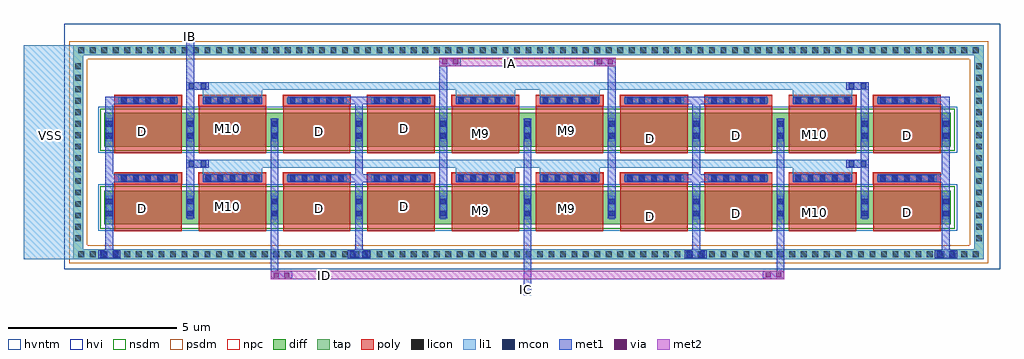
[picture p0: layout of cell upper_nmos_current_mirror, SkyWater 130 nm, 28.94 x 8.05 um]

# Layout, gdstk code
from math import pi, radians
import gdstk
lib = gdstk.Library(unit=1e-6, precision=1e-09)
def R(c, l, rs):  # rectangles x0, y0, x1, y1
    for r in rs: c.add(gdstk.rectangle(r[:2], r[2:], *l))
def A(c, l, x, y, w, h, nx, ny, dx, dy):  # array of equal rectangles
    R(c, l, [(x+i*dx, y+j*dy, x+i*dx+w, y+j*dy+h) for i in range(nx) for j in range(ny)])
def P(c, l, *ps):  # polygons
    for p in ps: c.add(gdstk.Polygon(p, *l))
diff = (65, 20)
tap = (65, 44)
poly = (66, 20)
licon = (66, 44)
li1 = (67, 20)
mcon = (67, 44)
met1 = (68, 20)
via = (68, 44)
met2 = (69, 20)
hvi = (75, 20)
nsdm = (93, 44)
psdm = (94, 20)
npc = (95, 20)
hvntm = (125, 20)

vias_gen_6 = lib.new_cell('vias_gen$6')
R(vias_gen_6, li1, [(0,0,0.66,0.23)])
R(vias_gen_6, mcon, [(0.065,0.03,0.235,0.2), (0.425,0.03,0.595,0.2)])
R(vias_gen_6, met1, [(0,0,0.66,0.23)])

nfet_1 = lib.new_cell('nfet$1')
R(nfet_1, diff, [(0,0,25.1,1)])
A(nfet_1, poly, 0.3, -0.2, 2, 1.4, 10, 1, 2.5, 0)
A(nfet_1, poly, 0.3, 1.2, 2, 0.33, 10, 1, 2.5, 0)
A(nfet_1, licon, 2.465, 0.235, 0.17, 0.17, 9, 2, 2.5, 0.36)
A(nfet_1, licon, 0.495, 1.28, 0.17, 0.17, 5, 1, 0.36, 0)
A(nfet_1, licon, 2.995, 1.28, 0.17, 0.17, 5, 1, 0.36, 0)
A(nfet_1, licon, 5.495, 1.28, 0.17, 0.17, 5, 1, 0.36, 0)
A(nfet_1, licon, 7.995, 1.28, 0.17, 0.17, 5, 1, 0.36, 0)
A(nfet_1, licon, 10.495, 1.28, 0.17, 0.17, 5, 1, 0.36, 0)
A(nfet_1, licon, 12.995, 1.28, 0.17, 0.17, 5, 1, 0.36, 0)
A(nfet_1, licon, 15.495, 1.28, 0.17, 0.17, 5, 1, 0.36, 0)
A(nfet_1, licon, 17.995, 1.28, 0.17, 0.17, 5, 1, 0.36, 0)
A(nfet_1, licon, 20.495, 1.28, 0.17, 0.17, 5, 1, 0.36, 0)
A(nfet_1, licon, 22.995, 1.28, 0.17, 0.17, 5, 1, 0.36, 0)
R(nfet_1, licon, [(0.065,0.235,0.235,0.405), (24.865,0.235,25.035,0.405), (0.065,0.595,0.235,0.765), (24.865,0.595,25.035,0.765)])
A(nfet_1, li1, 2.465, 0.155, 0.17, 0.69, 9, 1, 2.5, 0)
A(nfet_1, li1, 0.415, 1.28, 1.77, 0.17, 10, 1, 2.5, 0)
R(nfet_1, li1, [(0.065,0.155,0.235,0.845), (24.865,0.155,25.035,0.845)])
A(nfet_1, mcon, 2.465, 0.235, 0.17, 0.17, 9, 2, 2.5, 0.36)
A(nfet_1, mcon, 0.495, 1.28, 0.17, 0.17, 5, 1, 0.36, 0)
A(nfet_1, mcon, 2.995, 1.28, 0.17, 0.17, 5, 1, 0.36, 0)
A(nfet_1, mcon, 5.495, 1.28, 0.17, 0.17, 5, 1, 0.36, 0)
A(nfet_1, mcon, 7.995, 1.28, 0.17, 0.17, 5, 1, 0.36, 0)
A(nfet_1, mcon, 10.495, 1.28, 0.17, 0.17, 5, 1, 0.36, 0)
A(nfet_1, mcon, 12.995, 1.28, 0.17, 0.17, 5, 1, 0.36, 0)
A(nfet_1, mcon, 15.495, 1.28, 0.17, 0.17, 5, 1, 0.36, 0)
A(nfet_1, mcon, 17.995, 1.28, 0.17, 0.17, 5, 1, 0.36, 0)
A(nfet_1, mcon, 20.495, 1.28, 0.17, 0.17, 5, 1, 0.36, 0)
A(nfet_1, mcon, 22.995, 1.28, 0.17, 0.17, 5, 1, 0.36, 0)
R(nfet_1, mcon, [(0.065,0.235,0.235,0.405), (24.865,0.235,25.035,0.405), (0.065,0.595,0.235,0.765), (24.865,0.595,25.035,0.765)])
A(nfet_1, met1, 2.435, 0.175, 0.23, 0.65, 9, 1, 2.5, 0)
A(nfet_1, met1, 0.435, 1.25, 1.73, 0.23, 10, 1, 2.5, 0)
R(nfet_1, met1, [(0.035,0.175,0.265,0.825), (24.835,0.175,25.065,0.825)])
R(nfet_1, hvi, [(-0.37,-0.385,25.47,1.725)])
R(nfet_1, nsdm, [(-0.125,-0.125,25.225,1.125)])
A(nfet_1, npc, 0.29, 1.19, 2.02, 0.35, 10, 1, 2.5, 0)
R(nfet_1, hvntm, [(-0.185,-0.185,25.285,1.185)])

vias_gen_1 = lib.new_cell('vias_gen$1')
R(vias_gen_1, met1, [(0,0,0.64,0.26)])
R(vias_gen_1, via, [(0.085,0.055,0.235,0.205), (0.405,0.055,0.555,0.205)])
R(vias_gen_1, met2, [(0,0,0.64,0.26)])

vias_gen_2 = lib.new_cell('vias_gen$2')
R(vias_gen_2, tap, [(0,0,5.76,0.29)])
A(vias_gen_2, licon, 0.245, 0.06, 0.17, 0.17, 16, 1, 0.34, 0)
R(vias_gen_2, li1, [(0,0,5.76,0.29)])
R(vias_gen_2, psdm, [(-0.125,-0.125,5.885,0.415)])

vias_gen_3 = lib.new_cell('vias_gen$3')
R(vias_gen_3, tap, [(0,0,27,0.29)])
A(vias_gen_3, licon, 0.155, 0.06, 0.17, 0.17, 79, 1, 0.34, 0)
R(vias_gen_3, li1, [(0,0,27,0.29)])
R(vias_gen_3, psdm, [(-0.125,-0.125,27.125,0.415)])

upper_nmos_current_mirro = lib.new_cell('upper_nmos_current_mirror')
R(upper_nmos_current_mirro, li1, [(-3.185,-3.225,-1.725,3.12), (-1.725,-3.215,25.27,-2.93), (2.11,-0.735,3.88,-0.275), (9.61,-0.735,11.38,-0.275), (12.11,-0.735,13.88,-0.275), (19.61,-0.735,21.38,-0.275), (2.29,-0.505,21.75,-0.275), (2.11,1.57,3.88,2.03), (9.61,1.57,11.38,2.03), (12.11,1.57,13.88,2.03), (19.61,1.57,21.38,2.03), (2.29,1.8,21.75,2.03)])
R(upper_nmos_current_mirro, met1, [(11.63,-4.29,11.86,-2.005), (19.13,-3.585,19.36,-2.01), (4.13,-3.56,4.36,-2.01), (16.63,-3.11,16.86,-2.01), (-0.77,-3.075,-0.54,-2.01), (24.03,-3.05,24.26,-2.01), (6.63,-3.03,6.86,-2.01), (11.63,-1.52,11.86,-0.815), (4.13,-1.365,4.36,-0.815), (1.63,-1.36,1.86,-0.275), (6.63,-1.36,6.86,0.48), (9.13,-1.36,9.36,0.215), (14.13,-1.36,14.36,0.215), (16.63,-1.36,16.86,-0.735), (19.13,-1.36,19.36,-1.1), (21.63,-1.36,21.86,-0.275), (24.03,-1.36,24.26,0.355), (19.13,-1.28,19.36,0.295), (-0.77,-0.935,-0.37,-0.705), (6.36,-0.935,7.135,-0.705), (16.36,-0.935,17.135,-0.705), (23.86,-0.935,24.26,-0.705), (4.13,-0.825,4.36,0.295), (11.63,-0.82,11.86,0.3), (16.63,-0.735,16.86,0.4), (1.63,-0.53,1.86,0.295), (21.63,-0.275,21.86,0.37), (9.13,0.215,9.36,0.73), (14.13,0.215,14.36,0.765), (1.63,0.945,1.86,3.505), (6.63,0.945,6.86,1.385), (9.13,0.945,9.36,2.52), (14.13,0.945,14.36,2.52), (16.63,0.945,16.86,1.57), (21.63,0.945,21.86,2.03), (24.03,0.945,24.26,1.51), (-0.77,1.37,-0.37,1.6), (6.36,1.37,7.135,1.6), (16.36,1.37,17.135,1.6), (23.86,1.37,24.26,1.6)])
P(upper_nmos_current_mirro, met1, [(-0.77,0.945),(-0.77,1.56),(-0.58,1.56),(-0.54,1.56),(-0.54,0.945)],
  [(-0.77,-1.36),(-0.77,0.305),(-0.54,0.305),(-0.54,-0.745),(-0.54,-1.36)])
R(upper_nmos_current_mirro, met2, [(4.735,-3.82,19.35,-3.56), (9.77,2.5,14.135,2.76)])
R(upper_nmos_current_mirro, hvi, [(-1.995,-3.515,25.755,3.765), (-0.77,1.37,-0.37,1.6), (-0.77,1.37,-0.37,1.6)])
upper_nmos_current_mirro.add(gdstk.Reference(vias_gen_6, (1.63,1.8)))
upper_nmos_current_mirro.add(gdstk.Reference(vias_gen_6, (21.86,1.8), rotation=pi, x_reflection=True))
upper_nmos_current_mirro.add(gdstk.Reference(nfet_1, (-0.805,0.12)))
upper_nmos_current_mirro.add(gdstk.Reference(vias_gen_6, (1.63,-0.505)))
upper_nmos_current_mirro.add(gdstk.Reference(vias_gen_6, (21.86,-0.505), rotation=pi, x_reflection=True))
upper_nmos_current_mirro.add(gdstk.Reference(nfet_1, (-0.805,-2.185)))
upper_nmos_current_mirro.add(gdstk.Reference(vias_gen_1, (9.13,2.5)))
upper_nmos_current_mirro.add(gdstk.Reference(vias_gen_1, (13.72,2.5)))
upper_nmos_current_mirro.add(gdstk.Reference(vias_gen_1, (18.72,-3.815)))
upper_nmos_current_mirro.add(gdstk.Reference(vias_gen_1, (4.13,-3.82)))
upper_nmos_current_mirro.add(gdstk.Reference(vias_gen_6, (-0.985,-3.185)))
upper_nmos_current_mirro.add(gdstk.Reference(vias_gen_6, (6.415,-3.185)))
upper_nmos_current_mirro.add(gdstk.Reference(vias_gen_6, (16.405,-3.19)))
upper_nmos_current_mirro.add(gdstk.Reference(vias_gen_6, (23.82,-3.19)))
upper_nmos_current_mirro.add(gdstk.Reference(vias_gen_2, (-1.435,-2.93), rotation=pi/2))
upper_nmos_current_mirro.add(gdstk.Reference(vias_gen_3, (-1.725,-3.22)))
upper_nmos_current_mirro.add(gdstk.Reference(vias_gen_3, (-1.725,2.83)))
upper_nmos_current_mirro.add(gdstk.Reference(vias_gen_2, (25.275,-2.93), rotation=pi/2))
upper_nmos_current_mirro.add(gdstk.Label('IB', (1.73,3.385), layer=68, texttype=16))
upper_nmos_current_mirro.add(gdstk.Label('IC', (11.7,-4.11), layer=68, texttype=16))
upper_nmos_current_mirro.add(gdstk.Label('VSS', (-2.41,0.44), layer=67, texttype=16))
upper_nmos_current_mirro.add(gdstk.Label('IA', (11.2,2.595), layer=69, texttype=16))
upper_nmos_current_mirro.add(gdstk.Label('ID', (5.74,-3.71), layer=69, texttype=16))
upper_nmos_current_mirro.add(gdstk.Label('D', (0.325,0.58), layer=68, texttype=25))
upper_nmos_current_mirro.add(gdstk.Label('M10', (2.855,0.66), layer=68, texttype=25))
upper_nmos_current_mirro.add(gdstk.Label('D', (5.58,0.58), layer=68, texttype=25))
upper_nmos_current_mirro.add(gdstk.Label('D', (8.11,0.66), layer=68, texttype=25))
upper_nmos_current_mirro.add(gdstk.Label('M9', (10.36,0.52), layer=68, texttype=25))
upper_nmos_current_mirro.add(gdstk.Label('M9', (12.89,0.6), layer=68, texttype=25))
upper_nmos_current_mirro.add(gdstk.Label('D', (15.405,0.36), layer=68, texttype=25))
upper_nmos_current_mirro.add(gdstk.Label('D', (17.935,0.44), layer=68, texttype=25))
upper_nmos_current_mirro.add(gdstk.Label('M10', (20.245,0.465), layer=68, texttype=25))
upper_nmos_current_mirro.add(gdstk.Label('D', (23.01,0.46), layer=68, texttype=25))
upper_nmos_current_mirro.add(gdstk.Label('D', (0.325,-1.725), layer=68, texttype=25))
upper_nmos_current_mirro.add(gdstk.Label('M10', (2.855,-1.645), layer=68, texttype=25))
upper_nmos_current_mirro.add(gdstk.Label('D', (5.58,-1.725), layer=68, texttype=25))
upper_nmos_current_mirro.add(gdstk.Label('D', (8.11,-1.645), layer=68, texttype=25))
upper_nmos_current_mirro.add(gdstk.Label('M9', (10.36,-1.785), layer=68, texttype=25))
upper_nmos_current_mirro.add(gdstk.Label('M9', (12.89,-1.705), layer=68, texttype=25))
upper_nmos_current_mirro.add(gdstk.Label('D', (15.405,-1.945), layer=68, texttype=25))
upper_nmos_current_mirro.add(gdstk.Label('D', (17.935,-1.865), layer=68, texttype=25))
upper_nmos_current_mirro.add(gdstk.Label('M10', (20.245,-1.84), layer=68, texttype=25))
upper_nmos_current_mirro.add(gdstk.Label('D', (23.01,-1.845), layer=68, texttype=25))

lib.write_gds('upper_nmos_current_mirror.gds')
